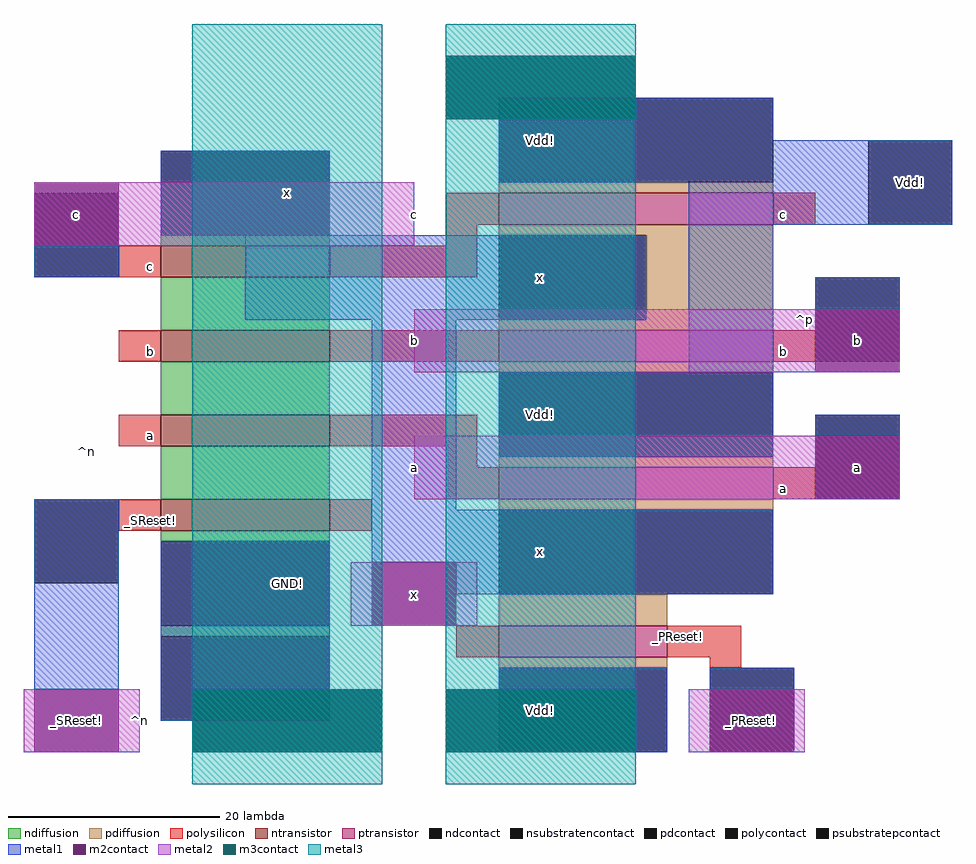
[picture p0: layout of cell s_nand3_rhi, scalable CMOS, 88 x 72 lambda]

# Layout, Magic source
magic
tech scmos
<< ndiffusion >>
rect -24 49 -8 50
rect -24 41 -8 46
rect -24 33 -8 38
rect -24 25 -8 30
rect -24 21 -8 22
rect -24 12 -8 13
<< pdiffusion >>
rect 8 54 34 55
rect 8 50 34 51
rect 22 42 34 50
rect 8 41 34 42
rect 8 37 34 38
rect 8 28 34 29
rect 8 24 34 25
rect 8 13 24 16
rect 8 9 24 10
<< ntransistor >>
rect -24 46 -8 49
rect -24 38 -8 41
rect -24 30 -8 33
rect -24 22 -8 25
<< ptransistor >>
rect 8 51 34 54
rect 8 38 34 41
rect 8 25 34 28
rect 8 10 24 13
<< polysilicon >>
rect 3 51 8 54
rect 34 51 38 54
rect 3 49 6 51
rect -28 46 -24 49
rect -8 46 6 49
rect -28 38 -24 41
rect -8 38 8 41
rect 34 38 38 41
rect -28 30 -24 33
rect -8 30 6 33
rect 3 28 6 30
rect 3 25 8 28
rect 34 25 38 28
rect -28 22 -24 25
rect -8 22 -4 25
rect 4 10 8 13
rect 24 10 31 13
rect 28 9 31 10
<< ndcontact >>
rect -24 50 -8 58
rect -24 13 -8 21
<< pdcontact >>
rect 8 55 34 63
rect 8 42 22 50
rect 8 29 34 37
rect 8 16 34 24
rect 8 1 24 9
<< psubstratepcontact >>
rect -24 4 -8 12
<< nsubstratencontact >>
rect 43 51 51 59
<< polycontact >>
rect -36 46 -28 54
rect 38 38 46 46
rect 38 25 46 33
rect -36 17 -28 25
rect 28 1 36 9
<< metal1 >>
rect 21 61 34 63
rect 8 59 34 61
rect -24 50 -8 58
rect 8 55 51 59
rect 26 51 51 55
rect -36 46 -28 49
rect -16 42 22 50
rect -36 7 -28 25
rect -4 24 4 42
rect 26 37 34 51
rect 38 43 46 46
rect 8 29 34 37
rect 38 31 46 33
rect -24 7 -8 21
rect -4 19 34 24
rect 4 16 34 19
rect 8 7 24 9
rect -24 4 -21 7
rect 21 1 24 7
rect 28 7 36 9
<< m2contact >>
rect 3 61 21 67
rect -36 49 -28 55
rect 38 37 46 43
rect 38 25 46 31
rect -36 1 -28 7
rect -4 13 4 19
rect -21 1 -3 7
rect 3 1 21 7
rect 28 1 36 7
<< metal2 >>
rect -36 49 0 55
rect 0 37 46 43
rect 0 25 46 31
rect -6 13 6 19
rect -37 1 -26 7
rect 26 1 37 7
<< m3contact >>
rect 3 61 21 67
rect -21 1 -3 7
rect 3 1 21 7
<< metal3 >>
rect -21 -2 -3 70
rect 3 -2 21 70
<< labels >>
rlabel m2contact 12 5 12 5 1 Vdd!
rlabel metal1 12 20 12 20 1 x
rlabel metal1 12 59 12 59 5 Vdd!
rlabel metal1 12 33 12 33 1 Vdd!
rlabel metal1 12 46 12 46 5 x
rlabel metal1 -12 17 -12 17 1 GND!
rlabel metal1 -12 54 -12 54 1 x
rlabel polysilicon -25 47 -25 47 3 c
rlabel polysilicon -25 39 -25 39 3 b
rlabel polysilicon -25 31 -25 31 3 a
rlabel polysilicon -25 23 -25 23 3 _SReset!
rlabel polysilicon 35 52 35 52 1 c
rlabel polysilicon 35 26 35 26 1 a
rlabel polysilicon 35 39 35 39 1 b
rlabel polysilicon 25 12 25 12 5 _PReset!
rlabel metal2 32 4 32 4 1 _PReset!
rlabel metal2 -32 4 -32 4 3 _SReset!
rlabel metal2 0 16 0 16 1 x
rlabel metal2 0 25 0 31 3 a
rlabel metal2 0 49 0 55 7 c
rlabel space -38 0 -24 59 7 ^n
rlabel metal2 -26 1 -26 7 3 ^n
rlabel metal1 47 55 47 55 7 Vdd!
rlabel space 22 20 52 64 3 ^p
rlabel metal2 -32 52 -32 52 1 c
rlabel metal2 42 40 42 40 1 b
rlabel metal2 42 28 42 28 1 a
rlabel metal2 0 37 0 43 3 b
<< end >>
